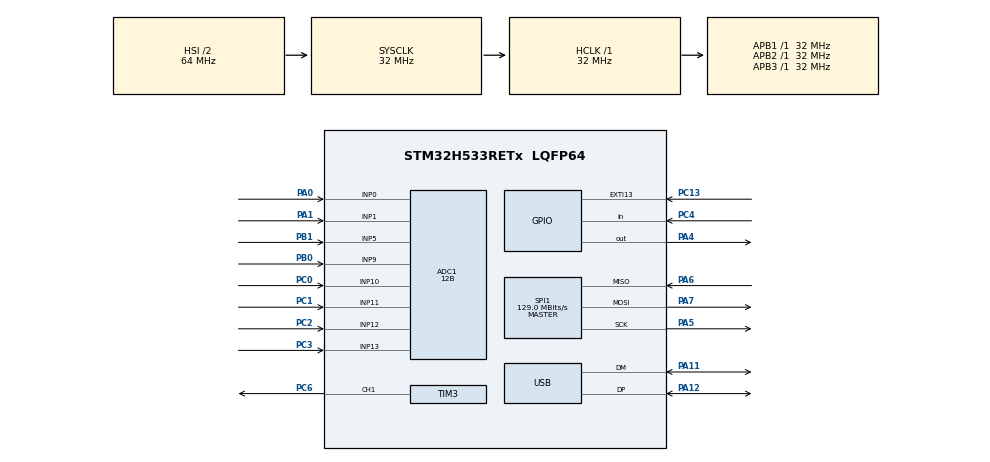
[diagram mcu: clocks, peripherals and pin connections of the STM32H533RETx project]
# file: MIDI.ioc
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ADC1.Channel-2\#ChannelRegularConversion=ADC_CHANNEL_0
ADC1.Channel-3\#ChannelRegularConversion=ADC_CHANNEL_1
ADC1.Channel-4\#ChannelRegularConversion=ADC_CHANNEL_5
ADC1.Channel-5\#ChannelRegularConversion=ADC_CHANNEL_9
ADC1.Channel-6\#ChannelRegularConversion=ADC_CHANNEL_11
ADC1.Channel-7\#ChannelRegularConversion=ADC_CHANNEL_10
ADC1.Channel-8\#ChannelRegularConversion=ADC_CHANNEL_12
ADC1.Channel-9\#ChannelRegularConversion=ADC_CHANNEL_13
ADC1.ClockPrescaler=ADC_CLOCK_ASYNC_DIV10
ADC1.DMAContinuousRequests=ENABLE
ADC1.ExternalTrigConv=ADC_EXTERNALTRIG_T6_TRGO
ADC1.MonitoredBy-2\#ChannelRegularConversion=__NULL
ADC1.MonitoredBy-3\#ChannelRegularConversion=__NULL
ADC1.MonitoredBy-4\#ChannelRegularConversion=__NULL
ADC1.MonitoredBy-5\#ChannelRegularConversion=__NULL
ADC1.MonitoredBy-6\#ChannelRegularConversion=__NULL
ADC1.MonitoredBy-7\#ChannelRegularConversion=__NULL
ADC1.MonitoredBy-8\#ChannelRegularConversion=__NULL
ADC1.MonitoredBy-9\#ChannelRegularConversion=__NULL
ADC1.NbrOfConversion=8
ADC1.NbrOfConversionFlag=1
ADC1.OffsetNumber-2\#ChannelRegularConversion=ADC_OFFSET_NONE
ADC1.OffsetNumber-3\#ChannelRegularConversion=ADC_OFFSET_NONE
ADC1.OffsetNumber-4\#ChannelRegularConversion=ADC_OFFSET_NONE
ADC1.OffsetNumber-5\#ChannelRegularConversion=ADC_OFFSET_NONE
ADC1.OffsetNumber-6\#ChannelRegularConversion=ADC_OFFSET_NONE
ADC1.OffsetNumber-7\#ChannelRegularConversion=ADC_OFFSET_NONE
ADC1.OffsetNumber-8\#ChannelRegularConversion=ADC_OFFSET_NONE
ADC1.OffsetNumber-9\#ChannelRegularConversion=ADC_OFFSET_NONE
ADC1.Rank-2\#ChannelRegularConversion=1
ADC1.Rank-3\#ChannelRegularConversion=2
ADC1.Rank-4\#ChannelRegularConversion=3
ADC1.Rank-5\#ChannelRegularConversion=4
ADC1.Rank-6\#ChannelRegularConversion=5
ADC1.Rank-7\#ChannelRegularConversion=6
ADC1.Rank-8\#ChannelRegularConversion=7
ADC1.Rank-9\#ChannelRegularConversion=8
ADC1.Resolution=ADC_RESOLUTION_12B
ADC1.SamplingTime-2\#ChannelRegularConversion=ADC_SAMPLETIME_640CYCLES_5
ADC1.SamplingTime-3\#ChannelRegularConversion=ADC_SAMPLETIME_640CYCLES_5
ADC1.SamplingTime-4\#ChannelRegularConversion=ADC_SAMPLETIME_640CYCLES_5
ADC1.SamplingTime-5\#ChannelRegularConversion=ADC_SAMPLETIME_640CYCLES_5
ADC1.SamplingTime-6\#ChannelRegularConversion=ADC_SAMPLETIME_640CYCLES_5
ADC1.SamplingTime-7\#ChannelRegularConversion=ADC_SAMPLETIME_640CYCLES_5
ADC1.SamplingTime-8\#ChannelRegularConversion=ADC_SAMPLETIME_640CYCLES_5
ADC1.SamplingTime-9\#ChannelRegularConversion=ADC_SAMPLETIME_640CYCLES_5
ADC1.master=1
BOOTPATH.BootPathName=LEGACY
BOOTPATH.UserSelectedBootPath=LEGACY
CORTEX_M33_NS.userName=CORTEX_M33
GPDMA1.CIRCULARMODE_GPDMACH0=ENABLE
GPDMA1.DESTDATAWIDTH_GPDMACH0=DMA_DEST_DATAWIDTH_HALFWORD
GPDMA1.DESTDATAWIDTH_GPDMACH1=DMA_DEST_DATAWIDTH_HALFWORD
GPDMA1.DESTINC_GPDMACH0=DMA_DINC_INCREMENTED
GPDMA1.DIRECTION_GPDMACH1=DMA_MEMORY_TO_PERIPH
GPDMA1.IPHANDLE_GPDMACH0-SIMPLEREQUEST_GPDMACH0=__NULL
GPDMA1.IPHANDLE_GPDMACH1-SIMPLEREQUEST_GPDMACH1=__NULL
GPDMA1.REQUEST_GPDMACH0=GPDMA1_REQUEST_ADC1
GPDMA1.REQUEST_GPDMACH1=GPDMA1_REQUEST_TIM3_CH1
GPDMA1.SRCDATAWIDTH_GPDMACH0=DMA_SRC_DATAWIDTH_HALFWORD
GPDMA1.SRCDATAWIDTH_GPDMACH1=DMA_SRC_DATAWIDTH_HALFWORD
GPDMA1.SRCINC_GPDMACH1=DMA_SINC_INCREMENTED
Mcu.Family=STM32H5
Mcu.Name=STM32H533RETx
Mcu.Package=LQFP64
NUCLEO-H533RE.BUTTON=1
NUCLEO-H533RE.VCP=true
NVIC.EXTI13_IRQn=true\:0\:0\:false\:false\:true\:false\:true\:true
NVIC.GPDMA1_Channel0_IRQn=true\:0\:0\:false\:false\:true\:false\:true\:true
NVIC.GPDMA1_Channel1_IRQn=true\:0\:0\:false\:false\:true\:false\:true\:true
NVIC.PriorityGroup=NVIC_PRIORITYGROUP_4
PA0.Signal=ADCx_INP0
PA1.Signal=ADCx_INP1
PA11.Mode=Device
PA11.Signal=USB_DM
PA12.Mode=Device
PA12.Signal=USB_DP
PA13(JTMS/SWDIO).GPIO_Label=SWDIO
PA13(JTMS/SWDIO).Signal=DEBUG_JTMS-SWDIO
PA14(JTCK/SWCLK).GPIO_Label=SWCLK
PA14(JTCK/SWCLK).Signal=DEBUG_JTCK-SWCLK
PA15(JTDI).GPIO_Label=JTDI
PA15(JTDI).Signal=DEBUG_JTDI
PA2.Signal=USART2_TX
PA3.Signal=USART2_RX
PA4.Signal=GPIO_Output
PA5.Mode=Full_Duplex_Master
PA5.Signal=SPI1_SCK
PA6.Mode=Full_Duplex_Master
PA6.Signal=SPI1_MISO
PA7.Mode=Full_Duplex_Master
PA7.Signal=SPI1_MOSI
PB0.Signal=ADCx_INP9
PB1.Signal=ADCx_INP5
PB3(JTDO/TRACESWO).GPIO_Label=SWO
PB3(JTDO/TRACESWO).Signal=DEBUG_JTDO-SWO
PC0.Signal=ADCx_INP10
PC1.Signal=ADCx_INP11
PC13.Signal=GPXTI13
PC2.Signal=ADCx_INP12
PC3.Signal=ADCx_INP13
PC4.Signal=GPIO_Input
PC6.Signal=S_TIM3_CH1
ProjectManager.HeapSize=0x200
ProjectManager.StackSize=0x400
ProjectManager.TargetToolchain=MDK-ARM V5
RCC.ADCFreq_Value=32000000
RCC.AHBFreq_Value=32000000
RCC.APB1Freq_Value=32000000
RCC.APB1TimFreq_Value=32000000
RCC.APB2Freq_Value=32000000
RCC.APB2TimFreq_Value=32000000
RCC.APB3Freq_Value=32000000
RCC.CSI_VALUE=4000000
RCC.CortexFreq_Value=32000000
RCC.EPOD_VALUE=4000000
RCC.HCLKFreq_Value=32000000
RCC.HSE_VALUE=24000000
RCC.HSI48_VALUE=48000000
RCC.HSI_VALUE=64000000
RCC.LSE_VALUE=32768
RCC.LSIRC_VALUE=32000
RCC.SYSCLKFreq_VALUE=32000000
RCC.USBFreq_Value=48000000
RCC.VCOOutputFreq_Value=516000000
SH.ADCx_INP0.0=ADC1_INP0,IN0-Single-Ended
SH.ADCx_INP1.0=ADC1_INP1,IN1-Single-Ended
SH.ADCx_INP10.0=ADC1_INP10,IN10-Single-Ended
SH.ADCx_INP11.0=ADC1_INP11,IN11-Single-Ended
SH.ADCx_INP12.0=ADC1_INP12,IN12-Single-Ended
SH.ADCx_INP13.0=ADC1_INP13,IN13-Single-Ended
SH.ADCx_INP5.0=ADC1_INP5,IN5-Single-Ended
SH.ADCx_INP9.0=ADC1_INP9,IN9-Single-Ended
SH.S_TIM3_CH1.0=TIM3_CH1,PWM Generation1 CH1
SPI1.BaudRatePrescaler=SPI_BAUDRATEPRESCALER_2
SPI1.CalculateBaudRate=129.0 MBits/s
SPI1.DataSize=SPI_DATASIZE_4BIT
SPI1.Direction=SPI_DIRECTION_2LINES
SPI1.Mode=SPI_MODE_MASTER
SPI1.VirtualType=VM_MASTER
TIM3.Channel-PWM\ Generation1\ CH1=TIM_CHANNEL_1
TIM3.PeriodNoDither=312
TIM6.PeriodNoDither=999
TIM6.Prescaler=249
TIM6.TIM_MasterOutputTrigger=TIM_TRGO_UPDATE
USB.VirtualMode=Device_Only
VP_BOOTPATH_VS_BOOTPATH.Mode=BP_Activate
VP_CORTEX_M33_NS_VS_Hclk.Mode=Hclk_Mode
VP_GPDMA1_VS_GPDMACH0.Mode=SIMPLEREQUEST_GPDMACH0
VP_GPDMA1_VS_GPDMACH1.Mode=SIMPLEREQUEST_GPDMACH1
VP_MEMORYMAP_VS_MEMORYMAP.Mode=CurAppReg
VP_NUCLEO-H533RE_VS_BSP_COMMON.Mode=COMMON
VP_PWR_VS_LPOM.Mode=PowerOptimisation
VP_PWR_VS_SECSignals.Mode=Security/Privilege
VP_TIM3_VS_ClockSourceINT.Mode=Internal
VP_TIM6_VS_ClockSourceINT.Mode=Enable_Timer
board=NUCLEO-H533RE

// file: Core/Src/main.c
/* USER CODE BEGIN Header */
/**
  ******************************************************************************
  * @file           : main.c
  * @brief          : Main program body
  ******************************************************************************
  * @attention
  *
  * Copyright (c) 2026 STMicroelectronics.
  * All rights reserved.
  *
  * This software is licensed under terms that can be found in the LICENSE file
  * in the root directory of this software component.
  * If no LICENSE file comes with this software, it is provided AS-IS.
  *
  ******************************************************************************
  */
/* USER CODE END Header */
#include "main.h"

/* USER CODE BEGIN Includes */
#include "tusb.h"
#include "mcp23s17.h"
/* USER CODE END Includes */

/* USER CODE BEGIN PD */
// --- Toetsmatrix ---
#define MATRIX_ROWS            4                // Aantal rijen in de matrix
#define MATRIX_COLS            4                // Aantal kolommen in de matrix
#define MATRIX_KEYS            16               // Totaal aantal toetsen (4x4)
#define MATRIX_SCAN_MS         2                // Scan interval in ms
#define MATRIX_DEBOUNCE_SCANS  8               // Aantal scans voor debounce (8 x 2ms = 16ms)

// --- MIDI instellingen ---
#define MIDI_BASE_NOTE         60               // Startnoot (Middle C = 60)
#define MIDI_NOTE_VELOCITY     127              // Aanslagsnelheid (maximaal)
#define MIDI_DIAGNOSTICS       0               // Zet op 1 om debug CC-berichten te sturen

// --- Potentiometers ---
#define HYSTERESIS             2               // Minimale MIDI-stap voor verzending (voorkomt ruis)
#define NUM_POTS               8               // Aantal potentiometers
#define MIDI_CC_START          16              // Eerste MIDI CC nummer (CC16 t/m CC23)
#define POT_FILTER_SAMPLES     4U             // Aantal samples voor moving-average filter
#define POT_MIN_INTERVAL_MS    20U            // Minimale tijd tussen twee CC-berichten per pot
#define ADC_MAX_VALUE          4095U          // Maximale ADC waarde (12-bit)
#define MIDI_MAX_VALUE         127U           // Maximale MIDI waarde
#define MIDI_DEADBAND_LOW      2U             // Waarden <= dit worden afgerond naar 0
#define MIDI_DEADBAND_HIGH     (MIDI_MAX_VALUE - MIDI_DEADBAND_LOW)  // Waarden >= dit worden 127
#define POTS_INVERT_DIRECTION  1U             // 1 = draairichting omdraaien

// --- SK6812 LED strip (GRB, via TIM3 CH1 PWM + DMA op PC6) ---
#define SK6812_LED_COUNT       16U            // Aantal LEDs op de strip
#define SK6812_BITS_PER_LED    24U            // 8 bits per kleurkanaal (G, R, B)
#define SK6812_RESET_SLOTS     80U            // Reset-periode: min. 80µs LOW (80 PWM slots)
#define SK6812_PREAMBLE_SLOTS  2U             // Extra lege slots vooraan zodat een corrupte eerste puls nooit LED 0 raakt
#define SK6812_BUFFER_SIZE     (SK6812_PREAMBLE_SLOTS + SK6812_LED_COUNT * SK6812_BITS_PER_LED + SK6812_RESET_SLOTS)
#define SK6812_DMA_BUFFER_BYTES (SK6812_BUFFER_SIZE * sizeof(uint16_t))  // Grootte in bytes (STM32H5 GPDMA verwacht bytes)
#define SK6812_T0H_PERCENT     24U            // Duty cycle voor een '0'-bit (~300ns bij 1,25µs periode)
#define SK6812_T1H_PERCENT     48U            // Duty cycle voor een '1'-bit (~600ns bij 1,25µs periode)

// --- LED kleuren ---
#define LED_PRESSED_R          0U             // Kleur ingedrukte toets (groen)
#define LED_PRESSED_G          64U
#define LED_PRESSED_B          0U
#define LED_RELEASED_R         0U             // Kleur losgelaten toets (uit)
#define LED_RELEASED_G         0U
#define LED_RELEASED_B         0U

// --- Standby modus (automatisch dimmen bij inactiviteit) ---
#define LED_STANDBY_ENABLE     0U             // 1 = standby modus aan
#define LED_STANDBY_R          0U             // Standby kleur (blauw)
#define LED_STANDBY_G          0U
#define LED_STANDBY_B          16U
#define LED_STANDBY_TIMEOUT_MS 2000U          // Tijd zonder input voor standby (ms)

// --- Debug / testmodi (zet op 0U voor normale werking) ---
#define SK6812_STARTUP_BLINK_ENABLE 0U       // Opstartknippering aan/uit
#define SK6812_STARTUP_BLINK_MS     120U     // Duur knippering (ms)
#define D8_GPIO_TEST_ENABLE         0U       // Toggle PA9 (D8) als hartslag
#define D8_BLINK_MS                 200U
#define SK6812_PC6_TEST_ENABLE      0U       // LED kleurtest via toets 0
#define SK6812_PC6_BLINK_MS         1000U
#define SK6812_PC6_TOGGLE_KEY_INDEX 0U       // Welke toets de kleurtest aan/uitzet
#define SK6812_PC6_COLOR_COUNT      4U       // Aantal kleuren in de rotatie
/* USER CODE END PD */

COM_InitTypeDef BspCOMInit;
ADC_HandleTypeDef hadc1;
DMA_NodeTypeDef Node_GPDMA1_Channel0;
DMA_QListTypeDef List_GPDMA1_Channel0;
DMA_HandleTypeDef handle_GPDMA1_Channel0;

SPI_HandleTypeDef hspi1;

TIM_HandleTypeDef htim3;
TIM_HandleTypeDef htim6;
DMA_HandleTypeDef handle_GPDMA1_Channel1;

PCD_HandleTypeDef hpcd_USB_DRD_FS;

/* USER CODE BEGIN PV */
// ADC / potentiometer variabelen
volatile uint16_t adc_buffer[NUM_POTS] = {0};    // Wordt continu gevuld door ADC DMA (circulair)
volatile uint16_t adc_snapshot[NUM_POTS] = {0};  // Stabiele kopie na elke volledige scan
volatile uint8_t adc_frame_ready = 0;            // Vlag: nieuwe ADC-data beschikbaar
uint8_t last_midi_value[NUM_POTS] = {0};         // Laatste verzonden MIDI waarde per pot
uint16_t pot_history[NUM_POTS][POT_FILTER_SAMPLES] = {{0}};  // Ringbuffer voor moving-average
uint32_t pot_history_sum[NUM_POTS] = {0};        // Lopende som van de ringbuffer
uint8_t pot_history_index = 0;                   // Huidige schrijfpositie in de ringbuffer
uint8_t pot_filter_primed = 0;                   // 0 = filter nog niet gevuld (eerste run)
uint32_t last_pot_send_ms[NUM_POTS] = {0};       // Tijdstip van laatste CC-bericht per pot

// SK6812 LED variabelen
static uint8_t sk6812_colors[SK6812_LED_COUNT][3] = {{0}};   // Gewenste kleur per LED [G, R, B]
static uint16_t sk6812_pwm_buffer[SK6812_BUFFER_SIZE] = {0}; // PWM compare-waarden voor DMA
static volatile uint8_t sk6812_dma_busy = 0;     // 1 = DMA transfer bezig, niet starten
static volatile uint8_t sk6812_needs_update = 0; // 1 = nieuwe kleurdata klaar om te sturen

// Mapping van toetsindex (0-15) naar LED-index op de strip
static const uint8_t key_to_led[MATRIX_KEYS] = {
  0U, 1U, 2U, 3U,
  4U, 5U, 6U, 7U,
  8U, 9U, 10U, 11U,
  12U, 13U, 14U, 15U
};

/* USER CODE END PV */

void SystemClock_Config(void);
static void MX_GPIO_Init(void);
static void MX_GPDMA1_Init(void);
static void MX_SPI1_Init(void);
static void MX_ADC1_Init(void);
static void MX_TIM6_Init(void);
static void MX_USB_PCD_Init(void);
static void MX_TIM3_Init(void);
/* USER CODE BEGIN PFP */
static void ADC_Start(void);
static void Process_Potentiometers(void);
static uint8_t Pot_ConvertToMidi(uint16_t raw_value);
static void SK6812_Init(void);
static void SK6812_SetColor(uint8_t led_index, uint8_t r, uint8_t g, uint8_t b);
static void SK6812_SetAll(uint8_t r, uint8_t g, uint8_t b);
static void SK6812_ApplyMatrixState(uint16_t stable_state);
static void SK6812_Show(void);
static void SK6812_BlinkStartup(void);

/* USER CODE END PFP */

/* USER CODE BEGIN 0 */

/**
  * @brief  Scan 4x4 matrix and return raw state (triple-sampling with majority vote)
  * @retval 16-bit state (1=pressed, 0=released)
  */
static uint16_t Matrix_ScanRaw(void) {
    // Column output patterns (1 bit LOW per column)
    static const uint8_t col_outputs[MATRIX_COLS] = {
        0x0E,  // 1110 - Column 0 LOW
        0x0D,  // 1101 - Column 1 LOW
        0x0B,  // 1011 - Column 2 LOW
        0x07   // 0111 - Column 3 LOW
    };

    uint16_t state = 0;

    for (uint8_t col = 0; col < MATRIX_COLS; col++) {
        // Activate column
        MCP_Write(MCP_GPIOA, col_outputs[col]);

        // Settle delay (120 NOP cycles ~= 2-3 µs)
        for (volatile uint32_t d = 0; d < 120; d++) {
            __NOP();
        }

        // Triple-sample with majority vote (glitch rejection)
        uint8_t s1 = MCP_Read(MCP_GPIOB) & 0x0F;
        uint8_t s2 = MCP_Read(MCP_GPIOB) & 0x0F;
        uint8_t s3 = MCP_Read(MCP_GPIOB) & 0x0F;
        uint8_t row_port = (s1 & s2) | (s1 & s3) | (s2 & s3);

        // Check each row
        for (uint8_t row = 0; row < MATRIX_ROWS; row++) {
            if ((row_port & (1 << row)) == 0) {  // Pressed = LOW
                state |= (1 << ((row * MATRIX_COLS) + col));
            }
        }
    }

    // All columns HIGH (idle)
    MCP_Write(MCP_GPIOA, 0x0F);
    return state;
}

/**
  * @brief  Send MIDI Note ON/OFF message
  * @param  key_index: Key index (0-15)
  * @param  pressed: 1=pressed, 0=released
  * @retval None
  */
static void Matrix_SendMidiKeyEvent(uint8_t key_index, uint8_t pressed) {
    if (!tud_mounted()) {
        return;
    }

    uint8_t note = MIDI_BASE_NOTE + key_index;
    uint8_t msg[3] = {
        pressed ? 0x90 : 0x80,             // Status byte (Note ON/OFF channel 1)
        note,                               // Note number
        pressed ? MIDI_NOTE_VELOCITY : 0   // Velocity
    };

    tud_midi_stream_write(0, msg, 3);  // Cable 0, 3 bytes
}

/**
  * @brief  Update debouncing logic and send MIDI events
  * @param  raw_state: Current raw state from Matrix_ScanRaw
  * @param  stable_state: Pointer to stable state
  * @param  debounce_count: Pointer to debounce counters array
  * @retval None
  */
static void Matrix_UpdateDebounce(uint16_t raw_state, uint16_t *stable_state,
                                   uint8_t *debounce_count) {
    for (uint8_t i = 0; i < MATRIX_KEYS; i++) {
        uint16_t bit = (1 << i);
        uint8_t raw_pressed = ((raw_state & bit) != 0) ? 1 : 0;
        uint8_t stable_pressed = ((*stable_state & bit) != 0) ? 1 : 0;

        if (raw_pressed != stable_pressed) {
            // State changing, increment counter
            if (debounce_count[i] < MATRIX_DEBOUNCE_SCANS) {
                debounce_count[i]++;
            }

            // If threshold reached, update stable state
            if (debounce_count[i] >= MATRIX_DEBOUNCE_SCANS) {
                if (raw_pressed) {
                    *stable_state |= bit;   // Set bit
                } else {
                    *stable_state &= ~bit;  // Clear bit
                }

                // Send MIDI event
                Matrix_SendMidiKeyEvent(i, raw_pressed);
                uint8_t led_index = key_to_led[i];
                if (raw_pressed) {
                  SK6812_SetColor(led_index, LED_PRESSED_R, LED_PRESSED_G, LED_PRESSED_B);
                } else {
                  SK6812_SetColor(led_index, LED_RELEASED_R, LED_RELEASED_G, LED_RELEASED_B);
                }
                debounce_count[i] = 0;
            }
        } else {
            // State stable, reset counter
            debounce_count[i] = 0;
        }
    }
}

/**
  * @brief  ADC DMA-conversie voltooid callback
  *         Wordt opgeroepen na elke volledige scan van alle 8 kanalen.
  *         Kopieert de ADC buffer naar een stabiele snapshot zodat de
  *         hoofdlus atomisch kan lezen terwijl DMA door blijft schrijven.
  */
void HAL_ADC_ConvCpltCallback(ADC_HandleTypeDef *hadc)
{
    if (hadc->Instance != ADC1) {
        return;
    }

    // Kopieer buffer naar snapshot voordat DMA de volgende ronde start
    for (uint8_t i = 0; i < NUM_POTS; i++) {
        adc_snapshot[i] = adc_buffer[i];
    }

    adc_frame_ready = 1;  // Signaleer aan hoofdlus dat data klaar is
}

/**
  * @brief  Zet een ruwe ADC-waarde (0-4095) om naar een MIDI waarde (0-127).
  *         Past een deadband toe aan beide uiteinden en keert eventueel de
  *         richting om (POTS_INVERT_DIRECTION).
  */
static uint8_t Pot_ConvertToMidi(uint16_t raw_value)
{
    // Schaal 0-4095 naar 0-127 met afronding
    uint8_t midi_value = (uint8_t)(((uint32_t)raw_value * MIDI_MAX_VALUE + (ADC_MAX_VALUE / 2U)) / ADC_MAX_VALUE);

    // Deadband: kleine waarden aan de uiteinden worden vastgezet op 0 of 127
    if (midi_value <= MIDI_DEADBAND_LOW) {
        midi_value = 0;
    } else if (midi_value >= MIDI_DEADBAND_HIGH) {
        midi_value = MIDI_MAX_VALUE;
    }

#if POTS_INVERT_DIRECTION
    midi_value = (uint8_t)(MIDI_MAX_VALUE - midi_value);  // Draairichting omdraaien
#endif

    return midi_value;
}

/**
  * @brief  Start de ADC in DMA-modus met TIM6 als trigger.
  *         TIM6 bepaalt de samplefrequentie; DMA vult adc_buffer circulair.
  */
static void ADC_Start(void)
{
    if (HAL_TIM_Base_Start(&htim6) != HAL_OK) {
        Error_Handler();
    }

    if (HAL_ADC_Start_DMA(&hadc1, (uint32_t *)adc_buffer, NUM_POTS) != HAL_OK) {
        Error_Handler();
    }
}

/**
  * @brief  Verwerkt de potentiometers en stuurt MIDI CC-berichten.
  *         Roept u elke lus aan; werkt alleen als er nieuwe ADC-data is.
  *         Gebruikt een moving-average filter en hysterese om ruis te onderdrukken.
  */
static void Process_Potentiometers(void)
{
    if (!adc_frame_ready) {
        return;  // Nog geen nieuwe ADC-data, niets te doen
    }

    adc_frame_ready = 0;
    uint32_t now_ms = HAL_GetTick();

    if (!pot_filter_primed) {
        // Eerste run: vul de hele ringbuffer met de huidige waarde zodat
        // het gemiddelde meteen geldig is (geen opwarmtijd)
        for (uint8_t i = 0; i < NUM_POTS; i++) {
            uint16_t sample = adc_snapshot[i] & ADC_MAX_VALUE;

            for (uint8_t slot = 0; slot < POT_FILTER_SAMPLES; slot++) {
                pot_history[i][slot] = sample;
            }

            pot_history_sum[i] = (uint32_t)sample * POT_FILTER_SAMPLES;
            last_midi_value[i] = Pot_ConvertToMidi(sample);
            last_pot_send_ms[i] = now_ms;
        }

        pot_filter_primed = 1;
        return;
    }

    for (uint8_t i = 0; i < NUM_POTS; i++) {
        // Schuif nieuw sample in de ringbuffer (moving average)
        uint16_t sample = adc_snapshot[i] & ADC_MAX_VALUE;
        pot_history_sum[i] -= pot_history[i][pot_history_index];  // Oudste waarde eruit
        pot_history[i][pot_history_index] = sample;
        pot_history_sum[i] += sample;                             // Nieuwste waarde erin

        uint16_t averaged_sample = (uint16_t)(pot_history_sum[i] / POT_FILTER_SAMPLES);
        uint8_t new_value = Pot_ConvertToMidi(averaged_sample);

        // Bereken absolute verandering t.o.v. laatste verzonden waarde
        int16_t diff = (int16_t)new_value - (int16_t)last_midi_value[i];
        if (diff < 0) {
            diff = -diff;
        }

        // Stuur alleen als de verandering groot genoeg is EN de minimale interval verstreken is
        if ((diff >= HYSTERESIS) && ((now_ms - last_pot_send_ms[i]) >= POT_MIN_INTERVAL_MS)) {
            if (tud_mounted()) {
                uint8_t msg[3] = {0xB0, (uint8_t)(MIDI_CC_START + i), new_value};  // CC channel 1
                tud_midi_stream_write(0, msg, 3);
            }

            last_midi_value[i] = new_value;
            last_pot_send_ms[i] = now_ms;
        }
    }

    // Volgende slot in de ringbuffer
    pot_history_index++;
    if (pot_history_index >= POT_FILTER_SAMPLES) {
        pot_history_index = 0;
    }
}

  /**
    * @brief  Initialiseer de kleurarray van alle LEDs.
    *         Standby-modus aan: beginnen in standby kleur.
    *         Standby-modus uit: beginnen als uit (released kleur).
    */
  static void SK6812_Init(void)
  {
    for (uint8_t i = 0; i < SK6812_LED_COUNT; i++) {
  #if LED_STANDBY_ENABLE
      sk6812_colors[i][0] = LED_STANDBY_G;   // SK6812 byte-volgorde: G, R, B
      sk6812_colors[i][1] = LED_STANDBY_R;
      sk6812_colors[i][2] = LED_STANDBY_B;
  #else
      sk6812_colors[i][0] = LED_RELEASED_G;
      sk6812_colors[i][1] = LED_RELEASED_R;
      sk6812_colors[i][2] = LED_RELEASED_B;
  #endif
    }
    sk6812_needs_update = 1;
  }

  /**
    * @brief  Bouw de PWM DMA-buffer op vanuit de kleurarray.
    *         Structuur: [preamble 0-slots] [LED data] [reset 0-slots]
    *         Elke bit wordt een PWM compare-waarde: t1h voor '1', t0h voor '0'.
    */
  static void SK6812_BuildBuffer(void)
  {
    uint16_t period = (uint16_t)(htim3.Init.Period + 1U);          // TIM3 periode in ticks
    uint16_t t0h = (uint16_t)((period * SK6812_T0H_PERCENT) / 100U); // Compare voor bit '0'
    uint16_t t1h = (uint16_t)((period * SK6812_T1H_PERCENT) / 100U); // Compare voor bit '1'
    uint32_t index = 0;

    // Preamble: lege slots zodat een corrupte eerste puls nooit LED 0 raakt
    for (uint32_t i = 0; i < SK6812_PREAMBLE_SLOTS; i++) {
      sk6812_pwm_buffer[index++] = 0;
    }

    // LED data: voor elke LED, 3 bytes (G, R, B), MSB eerst
    for (uint8_t led = 0; led < SK6812_LED_COUNT; led++) {
      for (uint8_t byte_index = 0; byte_index < 3U; byte_index++) {
        uint8_t value = sk6812_colors[led][byte_index];
        for (int8_t bit = 7; bit >= 0; bit--) {
          sk6812_pwm_buffer[index++] = (value & (1U << bit)) ? t1h : t0h;
        }
      }
    }

    // Reset-periode: minstens 80µs LOW zodat de SK6812 de data vastzet
    for (uint32_t i = 0; i < SK6812_RESET_SLOTS; i++) {
      sk6812_pwm_buffer[index++] = 0;
    }
  }

  static void SK6812_SetColor(uint8_t led_index, uint8_t r, uint8_t g, uint8_t b)
  {
    if (led_index >= SK6812_LED_COUNT) {
      return;
    }

    sk6812_colors[led_index][0] = g;
    sk6812_colors[led_index][1] = r;
    sk6812_colors[led_index][2] = b;
    sk6812_needs_update = 1;
  }

  static void SK6812_SetAll(uint8_t r, uint8_t g, uint8_t b)
  {
    for (uint8_t i = 0; i < SK6812_LED_COUNT; i++) {
      sk6812_colors[i][0] = g;
      sk6812_colors[i][1] = r;
      sk6812_colors[i][2] = b;
    }
    sk6812_needs_update = 1;
  }

  static void SK6812_ApplyMatrixState(uint16_t stable_state)
  {
    for (uint8_t key_index = 0; key_index < MATRIX_KEYS; key_index++) {
      uint8_t led_index = key_to_led[key_index];
      if (stable_state & (1U << key_index)) {
        SK6812_SetColor(led_index, LED_PRESSED_R, LED_PRESSED_G, LED_PRESSED_B);
      } else {
        SK6812_SetColor(led_index, LED_RELEASED_R, LED_RELEASED_G, LED_RELEASED_B);
      }
    }
  }

  static void SK6812_BlinkStartup(void)
  {
#if SK6812_STARTUP_BLINK_ENABLE
    SK6812_SetAll(0U, 48U, 0U);
    SK6812_Show();
    while (sk6812_dma_busy) {}
    HAL_Delay(SK6812_STARTUP_BLINK_MS);

    SK6812_SetAll(0U, 0U, 0U);
    SK6812_Show();
    while (sk6812_dma_busy) {}
#endif
  }

  static void SK6812_Show(void)
  {
    if (sk6812_dma_busy) {
      return;
    }

    SK6812_BuildBuffer();
    sk6812_dma_busy = 1;

    // Switch PC6 back to AF mode (TIM3_CH1) before starting the transfer.
    // Between transfers the pin is held as GPIO-output-LOW to prevent noise.
    GPIOC->MODER = (GPIOC->MODER & ~(3U << (6U * 2U))) | (2U << (6U * 2U));

    // Reset counter so the first PWM period is full-length.
    __HAL_TIM_SET_COUNTER(&htim3, 0);

    // Length MUST be in bytes for STM32H5 GPDMA (BNDT field).
    if (HAL_TIM_PWM_Start_DMA(&htim3, TIM_CHANNEL_1,
          (uint32_t *)sk6812_pwm_buffer,
          (uint16_t)SK6812_DMA_BUFFER_BYTES) != HAL_OK) {
      sk6812_dma_busy = 0;
      Error_Handler();
    }
  }

  void HAL_TIM_PWM_PulseFinishedCallback(TIM_HandleTypeDef *htim)
  {
    if (htim->Instance != TIM3) {
      return;
    }

    HAL_TIM_PWM_Stop_DMA(htim, TIM_CHANNEL_1);
    __HAL_TIM_SET_COMPARE(htim, TIM_CHANNEL_1, 0);

    // Switch PC6 from AF to GPIO-output-LOW so the SK6812 data line
    // is actively driven LOW between transfers.  A floating AF pin
    // picks up noise (e.g. from nearby pot signals) that the SK6812
    // interprets as data, corrupting LED 0.
    GPIOC->BSRR = (uint32_t)GPIO_PIN_6 << 16U;          // drive LOW
    GPIOC->MODER = (GPIOC->MODER & ~(3U << (6U * 2U)))  // clear bits
                 | (1U << (6U * 2U));                    // 01 = output
    sk6812_dma_busy = 0;
  }

/* USER CODE END 0 */

int main(void)
{

  /* MCU Configuration--------------------------------------------------------*/

  /* Reset of all peripherals, Initializes the Flash interface and the Systick. */
  HAL_Init();

  /* Configure the system clock */
  SystemClock_Config();

  /* Initialize all configured peripherals */
  MX_GPIO_Init();
  MX_GPDMA1_Init();
  MX_SPI1_Init();
  MX_ADC1_Init();
  MX_TIM6_Init();
  MX_USB_PCD_Init();
  MX_TIM3_Init();
  /* USER CODE BEGIN 2 */

  /* Configure USB GPIOs (PA11=DM, PA12=DP) for USB_DRD_FS */
  GPIO_InitTypeDef GPIO_InitStruct = {0};
  __HAL_RCC_GPIOA_CLK_ENABLE();

  GPIO_InitStruct.Pin = GPIO_PIN_11 | GPIO_PIN_12;
  GPIO_InitStruct.Mode = GPIO_MODE_AF_PP;
  GPIO_InitStruct.Pull = GPIO_NOPULL;
  GPIO_InitStruct.Speed = GPIO_SPEED_FREQ_VERY_HIGH;
  GPIO_InitStruct.Alternate = GPIO_AF10_USB;
  HAL_GPIO_Init(GPIOA, &GPIO_InitStruct);

  /* Configure USB clock using HSI48 */
  RCC_PeriphCLKInitTypeDef PeriphClkInitStruct = {0};
  PeriphClkInitStruct.PeriphClockSelection = RCC_PERIPHCLK_USB;
  PeriphClkInitStruct.UsbClockSelection = RCC_USBCLKSOURCE_HSI48;
  if (HAL_RCCEx_PeriphCLKConfig(&PeriphClkInitStruct) != HAL_OK)
  {
    Error_Handler();
  }

  /* Enable the USB voltage detector (USB33DEN) so the 3.3 V supply can be monitored */
  SET_BIT(PWR->USBSCR, PWR_USBSCR_USB33DEN);

  /* Enable VDDUSB power supply */
  HAL_PWREx_EnableVddUSB();

  /* Wait until VddUSB is ready before touching the USB peripheral */
  while (!(PWR->VMSR & PWR_VMSR_USB33RDY)) {}

  /* Enable USB DRD FS clock */
  __HAL_RCC_USB_CLK_ENABLE();

  /* Enable CRS (Clock Recovery System) to keep HSI48 accurate for USB */
  __HAL_RCC_CRS_CLK_ENABLE();
  RCC_CRSInitTypeDef RCC_CRSInitStruct = {0};
  RCC_CRSInitStruct.Prescaler             = RCC_CRS_SYNC_DIV1;
  RCC_CRSInitStruct.Source                = RCC_CRS_SYNC_SOURCE_USB;
  RCC_CRSInitStruct.Polarity              = RCC_CRS_SYNC_POLARITY_RISING;
  RCC_CRSInitStruct.ReloadValue           = __HAL_RCC_CRS_RELOADVALUE_CALCULATE(48000000, 1000);
  RCC_CRSInitStruct.ErrorLimitValue       = 34;
  RCC_CRSInitStruct.HSI48CalibrationValue = 32;
  HAL_RCCEx_CRSConfig(&RCC_CRSInitStruct);

  /* Configure USB DRD FS interrupt priority BEFORE enabling it */
  HAL_NVIC_SetPriority(USB_DRD_FS_IRQn, 5, 0);

  /* Initialize TinyUSB (handles USB peripheral init + enables NVIC interrupt internally) */
  tusb_init();

  /* Enable the NVIC interrupt AFTER TinyUSB has fully initialised the peripheral */
  HAL_NVIC_EnableIRQ(USB_DRD_FS_IRQn);

  /* Wait for USB enumeration */
  HAL_Delay(100);

  /* Initialize MCP23S17 I/O Expander (auto-probe CS pin) */
  MCP_Init();
  if (HAL_ADCEx_Calibration_Start(&hadc1, ADC_SINGLE_ENDED) != HAL_OK)
  {
    Error_Handler();
  }
  ADC_Start();
  SK6812_Init();
  SK6812_BlinkStartup();

  // Ensure all LEDs are off after init (double-show for reliability)
  SK6812_SetAll(0U, 0U, 0U);
  SK6812_Show();
  while (sk6812_dma_busy) {}
  HAL_Delay(2U);
  SK6812_Show();
  while (sk6812_dma_busy) {}
  sk6812_needs_update = 0;

  /* USER CODE END 2 */

  /* Initialize USER push-button, will be used to trigger an interrupt each time it's pressed.*/
  BSP_PB_Init(BUTTON_USER, BUTTON_MODE_EXTI);

  /* Initialize COM1 port (115200, 8 bits (7-bit data + 1 stop bit), no parity */
  BspCOMInit.BaudRate   = 115200;
  BspCOMInit.WordLength = COM_WORDLENGTH_8B;
  BspCOMInit.StopBits   = COM_STOPBITS_1;
  BspCOMInit.Parity     = COM_PARITY_NONE;
  BspCOMInit.HwFlowCtl  = COM_HWCONTROL_NONE;
  if (BSP_COM_Init(COM1, &BspCOMInit) != BSP_ERROR_NONE)
  {
    Error_Handler();
  }

  /* Infinite loop */
  /* USER CODE BEGIN WHILE */

  // Matrix state variables
  uint16_t raw_keys = 0;
  uint16_t stable_keys = 0;
  uint8_t debounce_count[MATRIX_KEYS] = {0};
  uint8_t all_released_scans = 0;
  uint8_t mcp_ready = MCP_IsReady();

  uint32_t last_scan_time = 0;
  uint32_t last_mcp_retry_time = 0;
#if LED_STANDBY_ENABLE
  uint32_t last_key_activity_ms = 0;
  uint8_t standby_active = 0;
#endif
#if D8_GPIO_TEST_ENABLE
  uint32_t last_d8_toggle_ms = 0;
#endif
#if SK6812_PC6_TEST_ENABLE
  uint32_t last_pc6_toggle_ms = 0;
  uint8_t pc6_color_step = 0;
  uint8_t pc6_test_enabled = 0;
#endif

#if MIDI_DIAGNOSTICS
  uint32_t last_diagnostic_time = 0;
  uint8_t heartbeat = 0;
#endif

#if LED_STANDBY_ENABLE
  last_key_activity_ms = HAL_GetTick();
#endif

  while (1)
  {
    tud_task();  // USB task - MUST be called every loop
    Process_Potentiometers();
    uint32_t now = HAL_GetTick();
#if D8_GPIO_TEST_ENABLE
    if ((now - last_d8_toggle_ms) >= D8_BLINK_MS) {
      last_d8_toggle_ms = now;
      HAL_GPIO_TogglePin(GPIOA, GPIO_PIN_9);
    }
#endif
#if SK6812_PC6_TEST_ENABLE
    static const uint8_t pc6_colors[SK6812_PC6_COLOR_COUNT][3] = {
      {48U, 0U, 0U},    // red
      {0U, 48U, 0U},    // green
      {0U, 0U, 48U},    // blue
      {32U, 32U, 32U}   // white
    };
    uint16_t pc6_toggle_bit = (uint16_t)(1U << SK6812_PC6_TOGGLE_KEY_INDEX);

    if (!mcp_ready && ((now - last_mcp_retry_time) >= 1000U)) {
      last_mcp_retry_time = now;
      MCP_Init();
      mcp_ready = MCP_IsReady();
    }

    if (mcp_ready && ((now - last_scan_time) >= MATRIX_SCAN_MS)) {
      uint16_t prev_stable_keys;
      last_scan_time = now;
      prev_stable_keys = stable_keys;
      raw_keys = Matrix_ScanRaw();
      Matrix_UpdateDebounce(raw_keys, &stable_keys, debounce_count);

      if (((prev_stable_keys & pc6_toggle_bit) == 0U) && ((stable_keys & pc6_toggle_bit) != 0U)) {
        pc6_test_enabled ^= 1U;
        last_pc6_toggle_ms = now;
        pc6_color_step = 0U;

        if (pc6_test_enabled) {
          SK6812_SetAll(pc6_colors[pc6_color_step][0], pc6_colors[pc6_color_step][1], pc6_colors[pc6_color_step][2]);
        } else {
          SK6812_SetAll(0U, 0U, 0U);
        }
      }
    }

    if (pc6_test_enabled && ((now - last_pc6_toggle_ms) >= SK6812_PC6_BLINK_MS)) {
      last_pc6_toggle_ms = now;
      pc6_color_step = (uint8_t)((pc6_color_step + 1U) % SK6812_PC6_COLOR_COUNT);
      SK6812_SetAll(pc6_colors[pc6_color_step][0], pc6_colors[pc6_color_step][1], pc6_colors[pc6_color_step][2]);
    }

    if (sk6812_needs_update && !sk6812_dma_busy) {
      sk6812_needs_update = 0;
      SK6812_Show();
    }
    continue;
#endif

    // MCP23S17 niet gevonden bij opstarten: probeer elke seconde opnieuw
    if (!mcp_ready) {
      if ((now - last_mcp_retry_time) >= 1000) {
        last_mcp_retry_time = now;
        MCP_Init();
        mcp_ready = MCP_IsReady();
      }
      continue;  // Sla de rest van de lus over zolang MCP niet klaar is
    }

#if MIDI_DIAGNOSTICS
    // Send diagnostic MIDI CC messages (every 500ms)
    if (tud_mounted() && ((now - last_diagnostic_time) >= 500)) {
      last_diagnostic_time = now;
      heartbeat = !heartbeat;

      uint8_t cc_msg[3];
      // CC100: Heartbeat (toggles 0/127)
      cc_msg[0] = 0xB0; cc_msg[1] = 100; cc_msg[2] = heartbeat ? 127 : 0;
      tud_midi_stream_write(0, cc_msg, 3);

      // CC101: MCP ready status
      cc_msg[1] = 101; cc_msg[2] = mcp_ready ? 127 : 0;
      tud_midi_stream_write(0, cc_msg, 3);

      // CC102: IODIRB register value
      cc_msg[1] = 102; cc_msg[2] = MCP_Read(MCP_IODIRB) & 0x7F;
      tud_midi_stream_write(0, cc_msg, 3);

      // CC103: GPIOB raw value
      cc_msg[1] = 103; cc_msg[2] = MCP_Read(MCP_GPIOB) & 0x7F;
      tud_midi_stream_write(0, cc_msg, 3);
    }
#endif

    // Scan de toetsmatrix elke 2ms
    if ((now - last_scan_time) >= MATRIX_SCAN_MS) {
      last_scan_time = now;
      uint16_t prev_stable_keys = stable_keys;
      raw_keys = Matrix_ScanRaw();                                        // Lees ruwe toestand
      Matrix_UpdateDebounce(raw_keys, &stable_keys, debounce_count);      // Debounce + MIDI events

      // Update LEDs als de stabiele toestand veranderd is
      if (stable_keys != prev_stable_keys) {
        SK6812_ApplyMatrixState(stable_keys);
      }

      // Failsafe: als alle toetsen lang genoeg losgelaten zijn,
      // forceer alles naar released (voorkomt vasthangen bij storingen)
      if (raw_keys == 0U) {
        if (all_released_scans < MATRIX_DEBOUNCE_SCANS) {
          all_released_scans++;
        } else if (stable_keys != 0U) {
          stable_keys = 0U;
          SK6812_SetAll(LED_RELEASED_R, LED_RELEASED_G, LED_RELEASED_B);
        }
      } else {
        all_released_scans = 0U;
      }
#if LED_STANDBY_ENABLE
      if (stable_keys != prev_stable_keys) {
        last_key_activity_ms = now;  // Registreer laatste activiteit
        if (standby_active && stable_keys != 0) {
          standby_active = 0;        // Uit standby bij toetsinvoer
          SK6812_ApplyMatrixState(stable_keys);
        }
      }
#endif
    }

#if LED_STANDBY_ENABLE
    // Ga naar standby als er te lang geen invoer is geweest
    if (!standby_active && (stable_keys == 0) && ((now - last_key_activity_ms) >= LED_STANDBY_TIMEOUT_MS)) {
      standby_active = 1;
      SK6812_SetAll(LED_STANDBY_R, LED_STANDBY_G, LED_STANDBY_B);
    }
#endif

    // Stuur LED-data via DMA als er een update klaarstaat en de vorige transfer klaar is
    if (sk6812_needs_update && !sk6812_dma_busy) {
      sk6812_needs_update = 0;
      SK6812_Show();
    }

    /* USER CODE END WHILE */

  }
}

void SystemClock_Config(void)
{
  RCC_OscInitTypeDef RCC_OscInitStruct = {0};
  RCC_ClkInitTypeDef RCC_ClkInitStruct = {0};

  /** Configure the main internal regulator output voltage
  */
  __HAL_PWR_VOLTAGESCALING_CONFIG(PWR_REGULATOR_VOLTAGE_SCALE3);

  while(!__HAL_PWR_GET_FLAG(PWR_FLAG_VOSRDY)) {}

  /** Initializes the RCC Oscillators according to the specified parameters
  * in the RCC_OscInitTypeDef structure.
  */
  RCC_OscInitStruct.OscillatorType = RCC_OSCILLATORTYPE_HSI48|RCC_OSCILLATORTYPE_HSI
                              |RCC_OSCILLATORTYPE_CSI;
  RCC_OscInitStruct.HSIState = RCC_HSI_ON;
  RCC_OscInitStruct.HSIDiv = RCC_HSI_DIV2;
  RCC_OscInitStruct.HSICalibrationValue = RCC_HSICALIBRATION_DEFAULT;
  RCC_OscInitStruct.HSI48State = RCC_HSI48_ON;
  RCC_OscInitStruct.CSIState = RCC_CSI_ON;
  RCC_OscInitStruct.CSICalibrationValue = RCC_CSICALIBRATION_DEFAULT;
  RCC_OscInitStruct.PLL.PLLState = RCC_PLL_ON;
  RCC_OscInitStruct.PLL.PLLSource = RCC_PLL1_SOURCE_CSI;
  RCC_OscInitStruct.PLL.PLLM = 1;
  RCC_OscInitStruct.PLL.PLLN = 129;
  RCC_OscInitStruct.PLL.PLLP = 2;
  RCC_OscInitStruct.PLL.PLLQ = 2;
  RCC_OscInitStruct.PLL.PLLR = 2;
  RCC_OscInitStruct.PLL.PLLRGE = RCC_PLL1_VCIRANGE_2;
  RCC_OscInitStruct.PLL.PLLVCOSEL = RCC_PLL1_VCORANGE_WIDE;
  RCC_OscInitStruct.PLL.PLLFRACN = 0;
  if (HAL_RCC_OscConfig(&RCC_OscInitStruct) != HAL_OK)
  {
    Error_Handler();
  }

  /** Initializes the CPU, AHB and APB buses clocks
  */
  RCC_ClkInitStruct.ClockType = RCC_CLOCKTYPE_HCLK|RCC_CLOCKTYPE_SYSCLK
                              |RCC_CLOCKTYPE_PCLK1|RCC_CLOCKTYPE_PCLK2
                              |RCC_CLOCKTYPE_PCLK3;
  RCC_ClkInitStruct.SYSCLKSource = RCC_SYSCLKSOURCE_HSI;
  RCC_ClkInitStruct.AHBCLKDivider = RCC_SYSCLK_DIV1;
  RCC_ClkInitStruct.APB1CLKDivider = RCC_HCLK_DIV1;
  RCC_ClkInitStruct.APB2CLKDivider = RCC_HCLK_DIV1;
  RCC_ClkInitStruct.APB3CLKDivider = RCC_HCLK_DIV1;

  if (HAL_RCC_ClockConfig(&RCC_ClkInitStruct, FLASH_LATENCY_1) != HAL_OK)
  {
    Error_Handler();
  }

  /** Configure the programming delay
  */
  __HAL_FLASH_SET_PROGRAM_DELAY(FLASH_PROGRAMMING_DELAY_0);
}

static void MX_ADC1_Init(void)
{

  ADC_ChannelConfTypeDef sConfig = {0};

  /** Common config
  */
  hadc1.Instance = ADC1;
  hadc1.Init.ClockPrescaler = ADC_CLOCK_ASYNC_DIV10;
  hadc1.Init.Resolution = ADC_RESOLUTION_12B;
  hadc1.Init.DataAlign = ADC_DATAALIGN_RIGHT;
  hadc1.Init.ScanConvMode = ADC_SCAN_ENABLE;
  hadc1.Init.EOCSelection = ADC_EOC_SINGLE_CONV;
  hadc1.Init.LowPowerAutoWait = DISABLE;
  hadc1.Init.ContinuousConvMode = DISABLE;
  hadc1.Init.NbrOfConversion = 8;
  hadc1.Init.DiscontinuousConvMode = DISABLE;
  hadc1.Init.ExternalTrigConv = ADC_EXTERNALTRIG_T6_TRGO;
  hadc1.Init.ExternalTrigConvEdge = ADC_EXTERNALTRIGCONVEDGE_RISING;
  hadc1.Init.DMAContinuousRequests = ENABLE;
  hadc1.Init.SamplingMode = ADC_SAMPLING_MODE_NORMAL;
  hadc1.Init.Overrun = ADC_OVR_DATA_PRESERVED;
  hadc1.Init.OversamplingMode = DISABLE;
  if (HAL_ADC_Init(&hadc1) != HAL_OK)
  {
    Error_Handler();
  }

  /** Configure Regular Channel
  */
  sConfig.Channel = ADC_CHANNEL_0;
  sConfig.Rank = ADC_REGULAR_RANK_1;
  sConfig.SamplingTime = ADC_SAMPLETIME_640CYCLES_5;
  sConfig.SingleDiff = ADC_SINGLE_ENDED;
  sConfig.OffsetNumber = ADC_OFFSET_NONE;
  sConfig.Offset = 0;
  if (HAL_ADC_ConfigChannel(&hadc1, &sConfig) != HAL_OK)
  {
    Error_Handler();
  }

  /** Configure Regular Channel
  */
  sConfig.Channel = ADC_CHANNEL_1;
  sConfig.Rank = ADC_REGULAR_RANK_2;
  if (HAL_ADC_ConfigChannel(&hadc1, &sConfig) != HAL_OK)
  {
    Error_Handler();
  }

  /** Configure Regular Channel
  */
  sConfig.Channel = ADC_CHANNEL_5;
  sConfig.Rank = ADC_REGULAR_RANK_3;
  if (HAL_ADC_ConfigChannel(&hadc1, &sConfig) != HAL_OK)
  {
    Error_Handler();
  }

  /** Configure Regular Channel
  */
  sConfig.Channel = ADC_CHANNEL_9;
  sConfig.Rank = ADC_REGULAR_RANK_4;
  if (HAL_ADC_ConfigChannel(&hadc1, &sConfig) != HAL_OK)
  {
    Error_Handler();
  }

  /** Configure Regular Channel
  */
  sConfig.Channel = ADC_CHANNEL_11;
  sConfig.Rank = ADC_REGULAR_RANK_5;
  if (HAL_ADC_ConfigChannel(&hadc1, &sConfig) != HAL_OK)
  {
    Error_Handler();
  }

  /** Configure Regular Channel
  */
  sConfig.Channel = ADC_CHANNEL_10;
  sConfig.Rank = ADC_REGULAR_RANK_6;
  if (HAL_ADC_ConfigChannel(&hadc1, &sConfig) != HAL_OK)
  {
    Error_Handler();
  }

  /** Configure Regular Channel
  */
  sConfig.Channel = ADC_CHANNEL_12;
  sConfig.Rank = ADC_REGULAR_RANK_7;
  if (HAL_ADC_ConfigChannel(&hadc1, &sConfig) != HAL_OK)
  {
    Error_Handler();
  }

  /** Configure Regular Channel
  */
  sConfig.Channel = ADC_CHANNEL_13;
  sConfig.Rank = ADC_REGULAR_RANK_8;
  if (HAL_ADC_ConfigChannel(&hadc1, &sConfig) != HAL_OK)
  {
    Error_Handler();
  }

}

static void MX_GPDMA1_Init(void)
{

  /* Peripheral clock enable */
  __HAL_RCC_GPDMA1_CLK_ENABLE();

  /* GPDMA1 interrupt Init */
    HAL_NVIC_SetPriority(GPDMA1_Channel0_IRQn, 0, 0);
    HAL_NVIC_EnableIRQ(GPDMA1_Channel0_IRQn);
    HAL_NVIC_SetPriority(GPDMA1_Channel1_IRQn, 0, 0);
    HAL_NVIC_EnableIRQ(GPDMA1_Channel1_IRQn);

}

static void MX_SPI1_Init(void)
{

  /* SPI1 parameter configuration*/
  hspi1.Instance = SPI1;
  hspi1.Init.Mode = SPI_MODE_MASTER;
  hspi1.Init.Direction = SPI_DIRECTION_2LINES;
  hspi1.Init.DataSize = SPI_DATASIZE_4BIT;
  hspi1.Init.CLKPolarity = SPI_POLARITY_LOW;
  hspi1.Init.CLKPhase = SPI_PHASE_1EDGE;
  hspi1.Init.NSS = SPI_NSS_SOFT;
  hspi1.Init.BaudRatePrescaler = SPI_BAUDRATEPRESCALER_2;
  hspi1.Init.FirstBit = SPI_FIRSTBIT_MSB;
  hspi1.Init.TIMode = SPI_TIMODE_DISABLE;
  hspi1.Init.CRCCalculation = SPI_CRCCALCULATION_DISABLE;
  hspi1.Init.CRCPolynomial = 0x7;
  hspi1.Init.NSSPMode = SPI_NSS_PULSE_ENABLE;
  hspi1.Init.NSSPolarity = SPI_NSS_POLARITY_LOW;
  hspi1.Init.FifoThreshold = SPI_FIFO_THRESHOLD_01DATA;
  hspi1.Init.MasterSSIdleness = SPI_MASTER_SS_IDLENESS_00CYCLE;
  hspi1.Init.MasterInterDataIdleness = SPI_MASTER_INTERDATA_IDLENESS_00CYCLE;
  hspi1.Init.MasterReceiverAutoSusp = SPI_MASTER_RX_AUTOSUSP_DISABLE;
  hspi1.Init.MasterKeepIOState = SPI_MASTER_KEEP_IO_STATE_DISABLE;
  hspi1.Init.IOSwap = SPI_IO_SWAP_DISABLE;
  hspi1.Init.ReadyMasterManagement = SPI_RDY_MASTER_MANAGEMENT_INTERNALLY;
  hspi1.Init.ReadyPolarity = SPI_RDY_POLARITY_HIGH;
  if (HAL_SPI_Init(&hspi1) != HAL_OK)
  {
    Error_Handler();
  }
  /* USER CODE BEGIN SPI1_Init 2 */
  // Ensure MCP23S17-compatible SPI settings even after CubeMX regeneration.
  hspi1.Init.DataSize = SPI_DATASIZE_8BIT;
  hspi1.Init.BaudRatePrescaler = SPI_BAUDRATEPRESCALER_16;
  hspi1.Init.NSSPMode = SPI_NSS_PULSE_DISABLE;
  if (HAL_SPI_Init(&hspi1) != HAL_OK)
  {
    Error_Handler();
  }

  /* USER CODE END SPI1_Init 2 */

}

static void MX_TIM3_Init(void)
{

  TIM_ClockConfigTypeDef sClockSourceConfig = {0};
  TIM_MasterConfigTypeDef sMasterConfig = {0};
  TIM_OC_InitTypeDef sConfigOC = {0};

  htim3.Instance = TIM3;
  htim3.Init.Prescaler = 0;
  htim3.Init.CounterMode = TIM_COUNTERMODE_UP;
  htim3.Init.Period = (uint32_t)((HAL_RCC_GetPCLK1Freq() / 800000U) - 1U);
  htim3.Init.ClockDivision = TIM_CLOCKDIVISION_DIV1;
  htim3.Init.AutoReloadPreload = TIM_AUTORELOAD_PRELOAD_DISABLE;
  if (HAL_TIM_Base_Init(&htim3) != HAL_OK)
  {
    Error_Handler();
  }
  sClockSourceConfig.ClockSource = TIM_CLOCKSOURCE_INTERNAL;
  if (HAL_TIM_ConfigClockSource(&htim3, &sClockSourceConfig) != HAL_OK)
  {
    Error_Handler();
  }
  if (HAL_TIM_PWM_Init(&htim3) != HAL_OK)
  {
    Error_Handler();
  }
  sMasterConfig.MasterOutputTrigger = TIM_TRGO_RESET;
  sMasterConfig.MasterSlaveMode = TIM_MASTERSLAVEMODE_DISABLE;
  if (HAL_TIMEx_MasterConfigSynchronization(&htim3, &sMasterConfig) != HAL_OK)
  {
    Error_Handler();
  }
  sConfigOC.OCMode = TIM_OCMODE_PWM1;
  sConfigOC.Pulse = 0;
  sConfigOC.OCPolarity = TIM_OCPOLARITY_HIGH;
  sConfigOC.OCFastMode = TIM_OCFAST_DISABLE;
  if (HAL_TIM_PWM_ConfigChannel(&htim3, &sConfigOC, TIM_CHANNEL_1) != HAL_OK)
  {
    Error_Handler();
  }
  HAL_TIM_MspPostInit(&htim3);

}

static void MX_TIM6_Init(void)
{

  TIM_MasterConfigTypeDef sMasterConfig = {0};

  htim6.Instance = TIM6;
  htim6.Init.Prescaler = 249;
  htim6.Init.CounterMode = TIM_COUNTERMODE_UP;
  htim6.Init.Period = 999;
  htim6.Init.AutoReloadPreload = TIM_AUTORELOAD_PRELOAD_DISABLE;
  if (HAL_TIM_Base_Init(&htim6) != HAL_OK)
  {
    Error_Handler();
  }
  sMasterConfig.MasterOutputTrigger = TIM_TRGO_UPDATE;
  sMasterConfig.MasterSlaveMode = TIM_MASTERSLAVEMODE_DISABLE;
  if (HAL_TIMEx_MasterConfigSynchronization(&htim6, &sMasterConfig) != HAL_OK)
  {
    Error_Handler();
  }

}

static void MX_USB_PCD_Init(void)
{

  /* USER CODE BEGIN USB_Init 0 */
  // Niet nodig - TinyUSB regelt USB initialisatie zelf
  /* USER CODE END USB_Init 0 */

  hpcd_USB_DRD_FS.Instance = USB_DRD_FS;
  hpcd_USB_DRD_FS.Init.dev_endpoints = 8;
  hpcd_USB_DRD_FS.Init.speed = USBD_FS_SPEED;
  hpcd_USB_DRD_FS.Init.phy_itface = PCD_PHY_EMBEDDED;
  hpcd_USB_DRD_FS.Init.Sof_enable = DISABLE;
  hpcd_USB_DRD_FS.Init.low_power_enable = DISABLE;
  hpcd_USB_DRD_FS.Init.lpm_enable = DISABLE;
  hpcd_USB_DRD_FS.Init.battery_charging_enable = DISABLE;
  hpcd_USB_DRD_FS.Init.vbus_sensing_enable = DISABLE;
  hpcd_USB_DRD_FS.Init.bulk_doublebuffer_enable = DISABLE;
  hpcd_USB_DRD_FS.Init.iso_singlebuffer_enable = DISABLE;
  if (HAL_PCD_Init(&hpcd_USB_DRD_FS) != HAL_OK)
  {
    Error_Handler();
  }

}

static void MX_GPIO_Init(void)
{
  GPIO_InitTypeDef GPIO_InitStruct = {0};

  /* GPIO Ports Clock Enable */
  __HAL_RCC_GPIOC_CLK_ENABLE();
  __HAL_RCC_GPIOA_CLK_ENABLE();
  __HAL_RCC_GPIOB_CLK_ENABLE();

  /*Configure GPIO pin Output Level */
  HAL_GPIO_WritePin(GPIOA, GPIO_PIN_4, GPIO_PIN_RESET);

  /*Configure GPIO pin : PA4 */
  GPIO_InitStruct.Pin = GPIO_PIN_4;
  GPIO_InitStruct.Mode = GPIO_MODE_OUTPUT_PP;
  GPIO_InitStruct.Pull = GPIO_NOPULL;
  GPIO_InitStruct.Speed = GPIO_SPEED_FREQ_LOW;
  HAL_GPIO_Init(GPIOA, &GPIO_InitStruct);

  /*Configure GPIO pin : PC4 */
  GPIO_InitStruct.Pin = GPIO_PIN_4;
  GPIO_InitStruct.Mode = GPIO_MODE_INPUT;
  GPIO_InitStruct.Pull = GPIO_NOPULL;
  HAL_GPIO_Init(GPIOC, &GPIO_InitStruct);

  /* USER CODE BEGIN MX_GPIO_Init_2 */
  // Keep MCP chip-select lines deasserted (active-low CS).
  HAL_GPIO_WritePin(GPIOA, GPIO_PIN_4, GPIO_PIN_SET);

  GPIO_InitStruct.Pin = GPIO_PIN_9;
  GPIO_InitStruct.Mode = GPIO_MODE_OUTPUT_PP;
  GPIO_InitStruct.Pull = GPIO_NOPULL;
  GPIO_InitStruct.Speed = GPIO_SPEED_FREQ_LOW;
  HAL_GPIO_Init(GPIOC, &GPIO_InitStruct);
  HAL_GPIO_WritePin(GPIOC, GPIO_PIN_9, GPIO_PIN_SET);

#if D8_GPIO_TEST_ENABLE
  // D8 on NUCLEO-H533RE header: PA9 (GPIO test blink)
  GPIO_InitStruct.Pin = GPIO_PIN_9;
  GPIO_InitStruct.Mode = GPIO_MODE_OUTPUT_PP;
  GPIO_InitStruct.Pull = GPIO_NOPULL;
  GPIO_InitStruct.Speed = GPIO_SPEED_FREQ_LOW;
  HAL_GPIO_Init(GPIOA, &GPIO_InitStruct);
  HAL_GPIO_WritePin(GPIOA, GPIO_PIN_9, GPIO_PIN_RESET);
#endif

  /* USER CODE END MX_GPIO_Init_2 */
}

/* USER CODE BEGIN 4 */

// Implement __io_putchar for printf support (uses ITM for debugging)
int __io_putchar(int ch)
{
  ITM_SendChar(ch);
  return ch;
}

// Voor GCC _write (nodig voor printf in sommige toolchains zoals STM32CubeIDE)
#ifdef __GNUC__
int _write(int file, char *ptr, int len)
{
  int DataIdx;
  for (DataIdx = 0; DataIdx < len; DataIdx++)
  {
    __io_putchar(*ptr++);
  }
  return len;
}
#endif

/* USER CODE END 4 */

void Error_Handler(void)
{
  __disable_irq();
  while (1)
  {
  }
}
